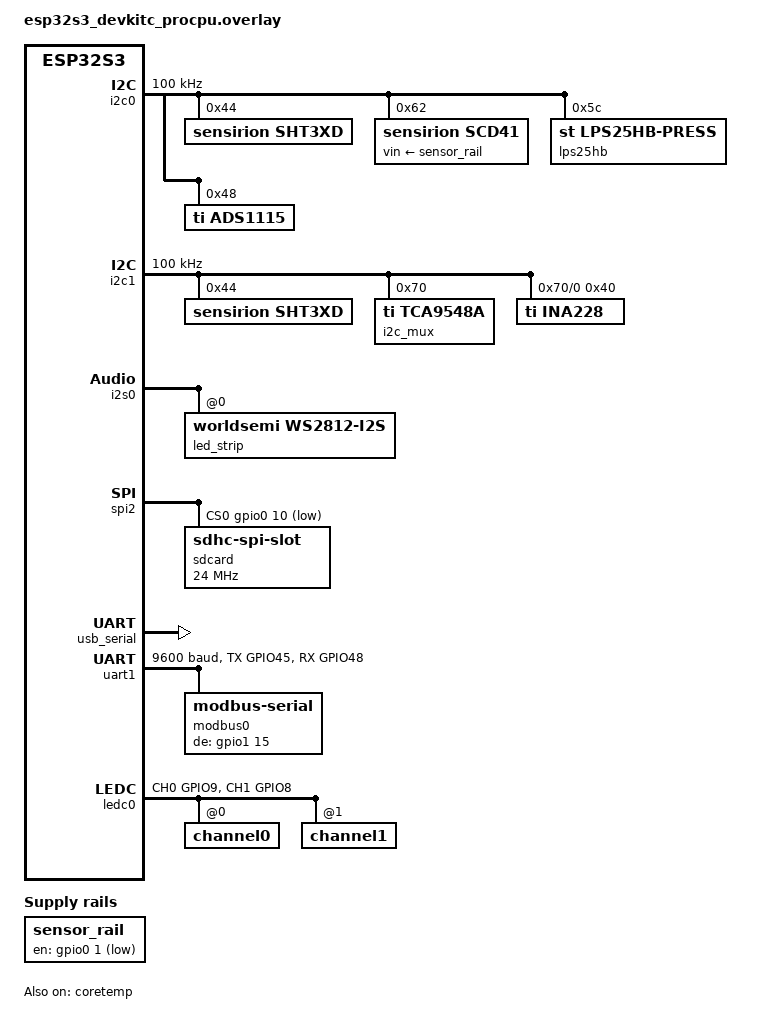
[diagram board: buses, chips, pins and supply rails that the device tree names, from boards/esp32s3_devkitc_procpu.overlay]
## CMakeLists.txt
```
cmake_minimum_required(VERSION 3.20.0)

file(WRITE ${CMAKE_CURRENT_BINARY_DIR}/wireguard_credentials.conf
     "CONFIG_WIREGUARD_LOCAL_PRIVATE_KEY=\"$ENV{CONFIG_WIREGUARD_LOCAL_PRIVATE_KEY}\"\n")
list(APPEND EXTRA_CONF_FILE ${CMAKE_CURRENT_BINARY_DIR}/wireguard_credentials.conf)

if(DEFINED ENV{OPENOCD})
  set(OPENOCD "$ENV{OPENOCD}" CACHE STRING "" FORCE)
endif()

list(APPEND EXTRA_CONF_FILE
  ${CMAKE_CURRENT_SOURCE_DIR}/src/boot/kernel.conf
  ${CMAKE_CURRENT_SOURCE_DIR}/src/boot/thread_analyzer.conf

  ${CMAKE_CURRENT_SOURCE_DIR}/src/hardware/esp_spiram.conf

  ${CMAKE_CURRENT_SOURCE_DIR}/src/console/log.conf
  ${CMAKE_CURRENT_SOURCE_DIR}/src/console/shell.conf
  ${CMAKE_CURRENT_SOURCE_DIR}/src/console/debug.conf
  ${CMAKE_CURRENT_SOURCE_DIR}/src/console/stats.conf
  ${CMAKE_CURRENT_SOURCE_DIR}/src/console/ram.conf
  ${CMAKE_CURRENT_SOURCE_DIR}/src/console/mcumgr.conf

  ${CMAKE_CURRENT_SOURCE_DIR}/src/filesystems/nvs.conf
  ${CMAKE_CURRENT_SOURCE_DIR}/src/filesystems/img.conf
  ${CMAKE_CURRENT_SOURCE_DIR}/src/filesystems/zvfs.conf
  ${CMAKE_CURRENT_SOURCE_DIR}/src/filesystems/flash.conf
  ${CMAKE_CURRENT_SOURCE_DIR}/src/filesystems/settings.conf

  ${CMAKE_CURRENT_SOURCE_DIR}/src/networking/buf.conf
  ${CMAKE_CURRENT_SOURCE_DIR}/src/networking/ipv4.conf
  ${CMAKE_CURRENT_SOURCE_DIR}/src/networking/ipv6.conf
  ${CMAKE_CURRENT_SOURCE_DIR}/src/networking/mgmt.conf
  ${CMAKE_CURRENT_SOURCE_DIR}/src/networking/default.conf
  ${CMAKE_CURRENT_SOURCE_DIR}/src/networking/sockets.conf
  ${CMAKE_CURRENT_SOURCE_DIR}/src/networking/hostname.conf
  ${CMAKE_CURRENT_SOURCE_DIR}/src/networking/statistics.conf
  ${CMAKE_CURRENT_SOURCE_DIR}/src/networking/dns/server.conf
  ${CMAKE_CURRENT_SOURCE_DIR}/src/networking/dns/resolver.conf
  ${CMAKE_CURRENT_SOURCE_DIR}/src/networking/dhcpv4.conf

  ${CMAKE_CURRENT_SOURCE_DIR}/src/networking/wifi/esp32.conf
  ${CMAKE_CURRENT_SOURCE_DIR}/src/networking/wifi/default.conf
  ${CMAKE_CURRENT_SOURCE_DIR}/src/networking/wifi/credentials.conf

  ${CMAKE_CURRENT_SOURCE_DIR}/src/networking/sntp.conf

  ${CMAKE_CURRENT_SOURCE_DIR}/src/services/mcumgr.conf

  ${CMAKE_CURRENT_SOURCE_DIR}/src/programs/hwinfo.conf
)

if(BOARD MATCHES "^xiao_esp32s3")
  function(app_set_runner_args)
    board_runner_args(probe-rs
      "--chip" "esp32s3"
      "--protocol" "jtag"
      "--file-type" "bin"
      "--base-address=0x20000"
    )
  endfunction()
endif()

find_package(Zephyr REQUIRED HINTS $ENV{ZEPHYR_BASE})
project(firmware)

rust_cargo_application(CRATE_NAME firmware)

target_sources(app PRIVATE src/networking/wifi/wifi.c)

target_include_directories(app PRIVATE ${ZEPHYR_BASE}/subsys/net/ip)

target_sources_ifdef(CONFIG_NET_DHCPV4_SERVER app PRIVATE
  src/networking/dns/proxy.c
)

target_sources_ifdef(CONFIG_MODEM_CELLULAR app PRIVATE src/networking/cellular/cellular.c)

target_sources_ifdef(CONFIG_WIREGUARD app PRIVATE src/networking/wireguard/wireguard.c)
if(CONFIG_WIREGUARD)
  target_include_directories(app PRIVATE ${ZEPHYR_BASE}/subsys/net/lib/wireguard)
endif()

set_source_files_properties(
  src/networking/dns/proxy.c
  PROPERTIES INCLUDE_DIRECTORIES "${ZEPHYR_BASE}/subsys/net/lib/dns"
)

# NOTE: uncomment wolfssl/wolfssh projects in west.yml + add services/ssh/wolfssh.conf + boot/posix.conf to app's EXTRA_CONF_FILE
# if(CONFIG_WOLFSSH)
#   zephyr_include_directories(${CMAKE_CURRENT_SOURCE_DIR}/src/services/ssh)
# endif()
```

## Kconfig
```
rsource "src/networking/wireguard/Kconfig"

source "Kconfig.zephyr"
```

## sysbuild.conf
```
# OTA disabled — bad flash caused boot loop, revisit later
# SB_CONFIG_BOOTLOADER_MCUBOOT=y
# SB_CONFIG_MCUBOOT_MODE_OVERWRITE_ONLY=y
```

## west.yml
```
manifest:
    remotes:
        - name: zephyrproject
          url-base: https://github.com/zephyrproject-rtos

        # - name: wolfssl
        #   url-base: https://github.com/wolfSSL

        - name: craigpeacock
          url-base: https://github.com/craigpeacock

    projects:
        - name: mm-iot-zephyr
          remote: craigpeacock
          revision: main
          path: modules/lib/morsemicro
          submodules: true
          import: false

        - name: zephyr-lang-rust
          remote: zephyrproject
          path: modules/lang/rust
          revision: 404fcefdbab0f2711cd342a1fab9d2eda52a1ba9 # main 2026-05-27

        # NOTE: uncomment CONFIG_WOLFSSH guard in CMakeLists.txt to use
        # - name: wolfssl
        #   remote: wolfssl
        #   revision: master
        #   path: modules/crypto/wolfssl
        #
        # - name: wolfssh
        #   remote: wolfssl
        #   revision: master
        #   path: modules/lib/wolfssh

        - name: zephyr
          remote: zephyrproject
          revision: 1f70d28f25e # main HEAD 2026-06-09
          import:
              name-allowlist:
                  # - qemu
                  # - percepio
                  # - net-tools

                  - mcuboot
                  - hal_xtensa
                  - hal_espressif

                  # - hal_stm32
                  # - hal_st

                  - cmsis
                  # - cmsis_6

                  - mbedtls
                  - mbedtls-3.6
                  # tf-psa-crypto is the sibling source tree mbedtls 4.x requires (per
                  # modules/crypto/mbedtls/CMakeLists.txt:346). Without this
                  # entry, any image with CONFIG_WIFI_ESP32=y fails at CMake-configure
                  # because WIFI_ESP32 selects PSA_CRYPTO which pulls mbedtls full build.
                  - tf-psa-crypto

                  # - fatfs
                  # - littlefs

                  - zcbor
                  - segger # RTT logging
                  # - nanopb # protobuf
                  # - libmetal
                  - picolibc
                  - mipi-sys-t
```

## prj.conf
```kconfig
CONFIG_LOG=y
CONFIG_PRINTK=y
CONFIG_LOG_BACKEND_SHOW_COLOR=y
CONFIG_LOG_INFO_COLOR_GREEN=y
CONFIG_LOG_DBG_COLOR_BLUE=y
CONFIG_LOG_BACKEND_SHOW_LEVEL=n
CONFIG_LOG_RUNTIME_FILTERING=y
# CONFIG_NET_LOG=y
# CONFIG_NET_HTTP_SERVER_LOG_LEVEL_DBG=y
CONFIG_LED_STRIP=y
CONFIG_LED_STRIP_SHELL=y

CONFIG_ESPTOOLPY_FLASHSIZE_8MB=y

CONFIG_ESP_SPIRAM=y
CONFIG_SPIRAM_MODE_OCT=y
CONFIG_ESP32S3_DATA_CACHE_64KB=y
# CONFIG_ESP_WIFI_HEAP_SPIRAM=y  # breaks boot — hangs before Zephyr banner

CONFIG_FLASH=y
CONFIG_FLASH_PAGE_LAYOUT=y

# Drivers
CONFIG_I2C=y
CONFIG_ADC=y
CONFIG_SENSOR=y
# Upstream defaults both root and channel prio to I2C_INIT_PRIORITY (50),
# but the driver asserts CHANNEL > ROOT.
CONFIG_I2C_TCA954X_CHANNEL_INIT_PRIO=51
CONFIG_PM_DEVICE=y
CONFIG_POWEROFF=y
CONFIG_REBOOT=y
CONFIG_REGULATOR=y
CONFIG_REGULATOR_FIXED=y

# File systems
CONFIG_FILE_SYSTEM=y

# Shell
CONFIG_SHELL=y
CONFIG_SHELL_PROMPT_BUFF_SIZE=2048
CONFIG_SHELL_DEFAULT_TERMINAL_WIDTH=200
CONFIG_SHELL_CMDS_RESIZE=y
CONFIG_SHELL_CMDS_SELECT=y
CONFIG_SHELL_BACKEND_TELNET=y
# CONFIG_SHELL_BACKEND_WEBSOCKET=y

# Networking
CONFIG_NETWORKING=y
CONFIG_NET_IPV4=y
CONFIG_NET_IPV6=y
CONFIG_NET_TCP=y
CONFIG_NET_UDP=y
CONFIG_NET_DHCPV4=y
CONFIG_NET_SHELL=y
CONFIG_NET_HOSTNAME_ENABLE=y
CONFIG_NET_HOSTNAME_DYNAMIC=y
CONFIG_NET_HOSTNAME_UNIQUE=y
CONFIG_NET_HOSTNAME="ceratina-"
CONFIG_NET_CONNECTION_MANAGER=y
# CONFIG_NET_CONNECTION_MANAGER_CONNECTIVITY_WIFI_MGMT=y
CONFIG_NET_STATISTICS=y
CONFIG_NET_CAPTURE=y
CONFIG_NET_SOCKETS=y
CONFIG_NET_SOCKETS_SERVICE_STACK_SIZE=4096
CONFIG_NET_MAX_CONN=32
CONFIG_NET_CONTEXT_NET_PKT_POOL=y

# DNS + mDNS
CONFIG_DNS_RESOLVER=y
CONFIG_MDNS_RESOLVER=y
CONFIG_MDNS_RESPONDER=y
CONFIG_DNS_SD=y
CONFIG_MDNS_RESPONDER_DNS_SD=y

# SNTP
CONFIG_SNTP=y
CONFIG_NET_CONFIG_CLOCK_SNTP_INIT=y

# HTTP
CONFIG_ZVFS_EVENTFD_MAX=4
CONFIG_HTTP_SERVER=y
CONFIG_HTTP_SERVER_WEBSOCKET=y
CONFIG_HTTP_SERVER_RESOURCE_WILDCARD=y
CONFIG_HTTP_SERVER_COMPRESSION=y
CONFIG_HTTP_CLIENT=y

CONFIG_PROMETHEUS=y
# CONFIG_NET_STATISTICS_VIA_PROMETHEUS=y  # redefinition errors with dual WiFi (STA+AP)
CONFIG_HTTP_SERVER_STACK_SIZE=8192
CONFIG_HTTP_SERVER_CLIENT_BUFFER_SIZE=1024
CONFIG_HTTP_SERVER_CLIENT_INACTIVITY_TIMEOUT=120

# WebSocket
CONFIG_WEBSOCKET_CLIENT=y

CONFIG_MQTT_LIB=y
CONFIG_MQTT_KEEPALIVE=60

# TLS for MQTT — disabled while playing on LAN, revisit when going public
# CONFIG_NET_SOCKETS_SOCKOPT_TLS=y
# CONFIG_TLS_CREDENTIALS=y
# CONFIG_MBEDTLS=y
# CONFIG_MBEDTLS_BUILTIN=y
# CONFIG_MBEDTLS_ENABLE_HEAP=y
# CONFIG_MBEDTLS_HEAP_SIZE=60000
# CONFIG_MBEDTLS_TLS_VERSION_1_2=y
# CONFIG_MBEDTLS_KEY_EXCHANGE_RSA_ENABLED=y
# CONFIG_MBEDTLS_KEY_EXCHANGE_ECDHE_RSA_ENABLED=y
# CONFIG_MBEDTLS_ECP_C=y
# CONFIG_MBEDTLS_SHA256=y
# CONFIG_MBEDTLS_AES_C=y
# CONFIG_MBEDTLS_RSA_C=y
# CONFIG_MBEDTLS_CIPHER_GCM_ENABLED=y
# CONFIG_MBEDTLS_USER_CONFIG_ENABLE=y

# DHCP server
CONFIG_NET_DHCPV4_SERVER=y
CONFIG_NET_DHCPV4_SERVER_INSTANCES=1
CONFIG_NET_DHCPV4_SERVER_ADDR_COUNT=4

# WiFi
CONFIG_WIFI=y
CONFIG_WIFI_NM=y
CONFIG_WIFI_CREDENTIALS=y
CONFIG_WIFI_USAGE_MODE_STA_AP=y
CONFIG_NET_L2_WIFI_SHELL=y
CONFIG_NET_L2_WIFI_MGMT=y
CONFIG_ESP32_WIFI_STA_AUTO_DHCPV4=y
CONFIG_NET_IF_MAX_IPV4_COUNT=2
CONFIG_NET_IF_MAX_IPV6_COUNT=2
CONFIG_NET_MGMT_EVENT_INFO=y
CONFIG_NET_MGMT_EVENT_STACK_SIZE=4096

# UUID for CloudEvents id generation (RFC 9562)
CONFIG_UUID=y
CONFIG_UUID_V5=y

# Shell subsystems
CONFIG_LOG_CMDS=y
CONFIG_KERNEL_SHELL=y
CONFIG_DEVICE_SHELL=y
CONFIG_SENSOR_SHELL=y
CONFIG_I2C_SHELL=y
CONFIG_GPIO_SHELL=y
CONFIG_FLASH_SHELL=y
CONFIG_THREAD_ANALYZER=y
CONFIG_THREAD_NAME=y
CONFIG_DATE_SHELL=y
CONFIG_HWINFO=y
CONFIG_HWINFO_SHELL=y
CONFIG_STATS=y
CONFIG_STATS_SHELL=y
CONFIG_STATS_NAMES=y
CONFIG_FILE_SYSTEM_SHELL=y
CONFIG_SETTINGS=y
CONFIG_SETTINGS_SHELL=y
CONFIG_FLASH_MAP=y
CONFIG_NVS=y
CONFIG_SETTINGS_NVS=y
CONFIG_PM_DEVICE_SHELL=y
CONFIG_DEVMEM_SHELL=y

# SD card
CONFIG_SPI=y
CONFIG_SDHC=y
CONFIG_SDMMC_STACK=y
CONFIG_DISK_ACCESS=y
CONFIG_DISK_DRIVER_SDMMC=y
CONFIG_FAT_FILESYSTEM_ELM=y
CONFIG_FS_FATFS_LFN=y

# Console over built-in USB-Serial/JTAG
CONFIG_SERIAL=y
CONFIG_CONSOLE=y
CONFIG_UART_CONSOLE=y

# Modbus
CONFIG_MODBUS=y
CONFIG_MODBUS_SERIAL=y
CONFIG_MODBUS_ROLE_CLIENT=y
# Modbus subsystem forces 2 stop bits when parity is NONE if runtime UART
# configure is on; DFRobot soil sensors are 8N1, so keep DT framing intact.
CONFIG_UART_USE_RUNTIME_CONFIGURE=n
# CONFIG_UART_INTERRUPT_DRIVEN=y  # breaks USB-Serial/JTAG console

# Rust
CONFIG_JSON_LIBRARY=y
CONFIG_SYS_HEAP_RUNTIME_STATS=y

CONFIG_RUST=y
CONFIG_RUST_ALLOC=y

# OTA disabled — bad flash caused boot loop, revisit later
# CONFIG_BOOTLOADER_MCUBOOT=y
# CONFIG_MCUMGR=y
# CONFIG_MCUMGR_GRP_IMG=y
# CONFIG_MCUMGR_GRP_OS=y
# CONFIG_IMG_MANAGER=y
# CONFIG_STREAM_FLASH=y
# CONFIG_ZCBOR=y
# CONFIG_CRC=y
# CONFIG_MCUMGR_TRANSPORT_UDP=y
# CONFIG_MCUMGR_TRANSPORT_UDP_IPV4=y

# System
CONFIG_ZVFS_POLL_MAX=32

# Stack sizes
CONFIG_MAIN_STACK_SIZE=8192
CONFIG_SYSTEM_WORKQUEUE_STACK_SIZE=4096
CONFIG_ISR_STACK_SIZE=4096
CONFIG_SHELL_STACK_SIZE=5200
CONFIG_STACK_SENTINEL=y
CONFIG_NET_TX_STACK_SIZE=2048
CONFIG_NET_RX_STACK_SIZE=2048
CONFIG_NET_PKT_RX_COUNT=10
CONFIG_NET_PKT_TX_COUNT=10
CONFIG_NET_BUF_RX_COUNT=128
CONFIG_NET_BUF_TX_COUNT=128
CONFIG_NET_MAX_CONTEXTS=32
CONFIG_NET_MGMT_EVENT_QUEUE_SIZE=16
CONFIG_NET_MGMT_EVENT_INFO_DEFAULT_DATA_SIZE=128
```

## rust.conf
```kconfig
CONFIG_RUST=y
CONFIG_RUST_ALLOC=y
```

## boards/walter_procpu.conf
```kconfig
CONFIG_SPIRAM_SPEED_80M=y
CONFIG_LOG_MODE_DEFERRED=y
CONFIG_LOG_BUFFER_SIZE=4096
CONFIG_LOG_MODE_IMMEDIATE=n
CONFIG_NET_HOSTNAME="walter"
CONFIG_ESPTOOLPY_FLASHSIZE_16MB=y
```

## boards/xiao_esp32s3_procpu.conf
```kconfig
CONFIG_SPIRAM_MODE_OCT=y
CONFIG_NET_HOSTNAME="xiao"
CONFIG_WIFI_USAGE_MODE_STA_AP=y
CONFIG_ESPTOOLPY_FLASHSIZE_8MB=y
CONFIG_ESP_SPIRAM_HEAP_SIZE=6291456
```

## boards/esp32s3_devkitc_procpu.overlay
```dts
#include <zephyr/dt-bindings/led/led.h>
#include <zephyr/dt-bindings/pinctrl/esp32s3-pinctrl.h>

/ {
	aliases {
		led-strip = &led_strip;
		temp0 = &coretemp;
	};

	chosen {
		zephyr,console = &usb_serial;
		zephyr,shell-uart = &usb_serial;
	};

	wifi_ap: wifi_ap {
		compatible = "espressif,esp32-wifi";
		status = "okay";
	};

	sensor_rail: sensor-rail {
		compatible = "regulator-fixed";
		regulator-name = "sensor-rail";
		enable-gpios = <&gpio0 1 GPIO_ACTIVE_LOW>;
		regulator-boot-on;
		regulator-always-on;
		startup-delay-us = <3000000>;
	};
};

&coretemp {
	status = "okay";
};

&pinctrl {
	i2c0_default: i2c0_default {
		group1 {
			pinmux = <I2C0_SDA_GPIO15>, <I2C0_SCL_GPIO16>;
			bias-pull-up;
			drive-open-drain;
			output-high;
		};
	};
	i2c1_default: i2c1_default {
		group1 {
			pinmux = <I2C1_SDA_GPIO17>, <I2C1_SCL_GPIO18>;
			bias-pull-up;
			drive-open-drain;
			output-high;
		};
	};

	uart1_default: uart1_default {
		group1 {
			pinmux = <UART1_TX_GPIO45>;
			output-high;
		};
		group2 {
			pinmux = <UART1_RX_GPIO48>;
			bias-pull-up;
		};
	};

	uart2_default: uart2_default {
		group1 {
			pinmux = <UART2_TX_GPIO40>;
			output-high;
		};
		group2 {
			pinmux = <UART2_RX_GPIO39>;
			bias-pull-up;
		};
	};

	ledc0_default: ledc0_default {
		group1 {
			pinmux = <LEDC_CH0_GPIO9>, <LEDC_CH1_GPIO8>;
			output-enable;
		};
	};
};

&i2c0 {
	status = "okay";
	clock-frequency = <I2C_BITRATE_STANDARD>;
	pinctrl-0 = <&i2c0_default>;
	pinctrl-names = "default";

	sht3xd@44 {
		compatible = "sensirion,sht3xd";
		reg = <0x44>;
	};

	scd41: scd41@62 {
		compatible = "sensirion,scd41";
		reg = <0x62>;
		mode = <1>;
		friendly-name = "Air Quality (CO2/T/RH)";
		vin-supply = <&sensor_rail>;
		zephyr,deferred-init;
	};

	lps25hb@5c {
		compatible = "st,lps25hb-press";
		reg = <0x5c>;
	};

	ads1115@48 {
		compatible = "ti,ads1115";
		reg = <0x48>;
		#io-channel-cells = <1>;
	};
};

&i2c1 {
	status = "okay";
	clock-frequency = <I2C_BITRATE_STANDARD>;
	pinctrl-0 = <&i2c1_default>;
	pinctrl-names = "default";

	sht3xd@44 {
		compatible = "sensirion,sht3xd";
		reg = <0x44>;
	};

	i2c_mux: tca9548a@70 {
		compatible = "ti,tca9548a";
		reg = <0x70>;
		#address-cells = <1>;
		#size-cells = <0>;

		mux_ch0: i2c@0 {
			reg = <0>;
			#address-cells = <1>;
			#size-cells = <0>;
			ina228@40 {
				compatible = "ti,ina228";
				reg = <0x40>;
				rshunt-micro-ohms = <15000>;
				current-lsb-microamps = <20>;
			};
		};
	};
};

&psram0 {
	size = <DT_SIZE_M(8)>;
};

&i2s0_default {
	group1 {
		pinmux = <I2S0_O_SD_GPIO38>;
	};
};

i2s_led: &i2s0 {
	status = "okay";

	dmas = <&dma 3>;
	dma-names = "tx";

	led_strip: ws2812@0 {
		compatible = "worldsemi,ws2812-i2s";

		reg = <0>;
		chain-length = <1>;
		color-mapping = <LED_COLOR_ID_GREEN
				 LED_COLOR_ID_RED
				 LED_COLOR_ID_BLUE>;
		reset-delay = <500>;
	};
};

&spi2 {
	status = "okay";
	pinctrl-0 = <&spim2_default>;
	pinctrl-names = "default";
	cs-gpios = <&gpio0 10 GPIO_ACTIVE_LOW>;

	sdcard: sdcard@0 {
		compatible = "zephyr,sdhc-spi-slot";
		reg = <0>;
		spi-max-frequency = <24000000>;
		status = "okay";
		mmc {
			compatible = "zephyr,sdmmc-disk";
			disk-name = "sd";
			status = "okay";
		};
	};
};

&usb_serial {
	status = "okay";
};

&dma {
	status = "okay";
};

&uart1 {
	status = "okay";
	current-speed = <9600>;
	pinctrl-0 = <&uart1_default>;
	pinctrl-names = "default";

	modbus0: modbus0 {
		compatible = "zephyr,modbus-serial";
		status = "okay";
		de-gpios = <&gpio1 15 GPIO_ACTIVE_HIGH>; /* GPIO47 */

		soil_moisture: soil-moisture {
			compatible = "dfrobot,soil-moisture";
			slave-id = <100>;
		};

		soil_moisture_three_in_one: soil-moisture-three-in-one {
			compatible = "dfrobot,soil-moisture-three-in-one";
			slave-id = <110>;
		};
	};
};

&ledc0 {
	status = "okay";
	pinctrl-0 = <&ledc0_default>;
	pinctrl-names = "default";
	#address-cells = <1>;
	#size-cells = <0>;

	channel0@0 {
		reg = <0x0>;
		timer = <0>;
	};

	channel1@1 {
		reg = <0x1>;
		timer = <0>;
	};
};
```

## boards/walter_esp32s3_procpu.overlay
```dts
/* https://docs.zephyrproject.org/latest/boards/dptechnics/walter/doc/index.html */
/ {
	wifi_ap: wifi_ap {
		compatible = "espressif,esp32-wifi";
		status = "okay";
	};
};
```

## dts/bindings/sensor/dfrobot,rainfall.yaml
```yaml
description: DFRobot rainfall sensor (Modbus RTU)

compatible: "dfrobot,rainfall"

include: [sensor-device.yaml]

properties:
  slave-id:
    type: int
    required: true
    description: Modbus slave address of the rainfall sensor
```

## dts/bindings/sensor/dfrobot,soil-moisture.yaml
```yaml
description: DFRobot soil moisture sensor (Modbus RTU, multi-tier)

compatible: "dfrobot,soil-moisture"

include: [sensor-device.yaml]

properties:
  scan-range-start:
    type: int
    required: true
    description: First Modbus slave address to scan for probes

  scan-range-end:
    type: int
    required: true
    description: Last Modbus slave address to scan for probes
```

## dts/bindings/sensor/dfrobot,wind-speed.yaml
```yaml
description: DFRobot wind speed sensor (Modbus RTU)

compatible: "dfrobot,wind-speed"

include: [sensor-device.yaml]

properties:
  slave-id:
    type: int
    required: true
    description: Modbus slave address of the wind speed sensor
```

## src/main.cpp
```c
//------------------------------------------
//  Includes
//------------------------------------------
#include "config.h"

#include <Arduino.h>
#include <LittleFS.h>
#include <Wire.h>

#include "networking/wifi.h"
#include "networking/sntp.h"
#include "networking/telnet.h"
#include "networking/ota.h"
#include "networking/update.h"
#include "services/http.h"
#include "services/network.h"
#include "services/temperature_and_humidity.h"
#include "services/ws_shell.h"
#include "services/co2.h"
#include "networking/ble.h"
#include "networking/provisioning.h"
#include "programs/buttons.h"
#include "drivers/neopixel.h"
#include "drivers/tca9548a.h"
#include "drivers/ads1115.h"
#include "programs/ssh/ssh_server.h"
#include "programs/shell/shell.h"

//------------------------------------------
//  Network Services (idempotent — safe to call multiple times)
//------------------------------------------
void network_services_start(void) {
  static bool sntp_done = false;
  static bool ssh_done = false;
  static bool http_done = false;
  static bool telnet_done = false;
  static bool ota_done = false;

  if (!sntp_done) sntp_done = sntp_sync();
  if (!ssh_done) ssh_done = ssh_server_start();
  if (!http_done) { http_server_start(); http_done = true; }
  if (!telnet_done) { telnet_start(); telnet_done = true; }
  if (!ota_done) { ota_start(); ota_done = true; }
}

//------------------------------------------
//  System Task
//------------------------------------------
static void system_task(void *pvParameters) {
  (void)pvParameters;

  Serial.println(F("[system] booting..."));

  neopixel_init();
  neopixel_blue();

  // Power on I2C sensor relay and init buses
  pinMode(CONFIG_I2C_RELAY_POWER_GPIO, OUTPUT);
  digitalWrite(CONFIG_I2C_RELAY_POWER_GPIO, HIGH);
  delay(100);
  Wire.begin(CONFIG_I2C_0_SDA_GPIO, CONFIG_I2C_0_SCL_GPIO, CONFIG_I2C_FREQUENCY_KHZ * 1000);
  Wire.setTimeOut(100);
  Wire1.begin(CONFIG_I2C_1_SDA_GPIO, CONFIG_I2C_1_SCL_GPIO, CONFIG_I2C_FREQUENCY_KHZ * 1000);
  Wire1.setTimeOut(100);

  // Discover sensors behind TCA9548A mux
  tca9548a_init();
  temperature_and_humidity_discover();
  ads1115_init();
  ads1115_begin();
  co2_init();
  // co2_begin() is deferred — called lazily on first read via co2_read()
  // Saves ~2.5s boot time and RAM when no CO2 sensor is connected

#if CONFIG_BLE_ENABLED
  ble_init();
#endif

  shell_init();
  buttons_init();

  if (!LittleFS.begin(false)) {
    Serial.println(F("[fs] mount failed, formatting..."));
    neopixel_red();
    if (!LittleFS.begin(true)) {
      Serial.println(F("[fs] format failed — filesystem unavailable"));
    }
  }
  if (LittleFS.totalBytes() > 0) {
    Serial.printf("[fs] LittleFS: %u/%u KB used\n",
                  (unsigned)(LittleFS.usedBytes() / 1024),
                  (unsigned)(LittleFS.totalBytes() / 1024));
    neopixel_blue();
  }

  // Check for firmware update on SD card before WiFi
  update_check_sd_on_boot();

#if CONFIG_PROV_ENABLED
  if (!provisioning_is_provisioned()) {
    Serial.println(F("[prov] not provisioned — starting BLE provisioning"));
    neopixel_magenta();
    provisioning_start();
  }
#endif

  if (wifi_connect()) {
    neopixel_green();
    Serial.printf("[wifi] connected, heap: %u bytes free\n", ESP.getFreeHeap());
  } else {
    Serial.println(F("[wifi] STA not connected — starting AP for provisioning"));
    wifi_start_ap();
    neopixel_yellow();
  }

  network_services_start();

  // Shell service loop (non-blocking) + SSE heartbeat + DNS
  uint32_t last_heartbeat = 0;
  for (;;) {
    http_server_service();
    shell_service();
    ws_shell_service();
    telnet_service();
    ota_service();
    buttons_service();

#if CONFIG_BLE_ENABLED
    ble_service();
#endif

    if (millis() - last_heartbeat > 5000) {
      last_heartbeat = millis();
      uint32_t heap = ESP.getFreeHeap();
      char buf[64];
      snprintf(buf, sizeof(buf), "{\"uptime\":%lu,\"heap\":%u}",
               millis() / 1000, heap);
      http_events.send(buf, "heartbeat", millis());

      if (heap < 20000) {
        Serial.printf("[WARN] low heap: %u bytes free (min: %u)\n",
                      heap, ESP.getMinFreeHeap());
      }
    }

    vTaskDelay(pdMS_TO_TICKS(CONFIG_SHELL_SERVICE_INTERVAL_MS));
  }
}

//------------------------------------------
//  Arduino Entry Points
//------------------------------------------
#ifndef PIO_UNIT_TESTING

void setup(void) {
  Serial.begin(CONFIG_SERIAL_BAUD);
  delay(100);

  wifi_setup();

  xTaskCreatePinnedToCore(system_task, "system", CONFIG_SYSTEM_TASK_STACK, NULL,
                          1, NULL, 1);
}

void loop(void) {}

#endif
```

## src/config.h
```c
// clang-format off
#ifndef CONFIG_H
#define CONFIG_H

// ─────────────────────────────────────────────────────────────────────────────
//  Deployment
// ─────────────────────────────────────────────────────────────────────────────

#ifndef CONFIG_HOSTNAME
#define CONFIG_HOSTNAME "ceratina"
#endif

#ifndef CONFIG_PLATFORM
#define CONFIG_PLATFORM "esp32s3"
#endif

// ─────────────────────────────────────────────────────────────────────────────
//  Neopixel
// ─────────────────────────────────────────────────────────────────────────────

#ifndef CONFIG_NEOPIXEL_GPIO
#define CONFIG_NEOPIXEL_GPIO 38
#endif

#ifndef CONFIG_NEOPIXEL_COUNT
#define CONFIG_NEOPIXEL_COUNT 1
#endif

#ifndef CONFIG_NEOPIXEL_BRIGHTNESS
#define CONFIG_NEOPIXEL_BRIGHTNESS 255
#endif

// ─────────────────────────────────────────────────────────────────────────────
//  System
// ─────────────────────────────────────────────────────────────────────────────

#ifndef CONFIG_SYSTEM_TASK_STACK
#define CONFIG_SYSTEM_TASK_STACK 8192
#endif

#ifndef CONFIG_SERIAL_BAUD
#define CONFIG_SERIAL_BAUD 115200
#endif

#ifndef CONFIG_SHELL_SERVICE_INTERVAL_MS
#define CONFIG_SHELL_SERVICE_INTERVAL_MS 10
#endif

// ─────────────────────────────────────────────────────────────────────────────
//  SSH
// ─────────────────────────────────────────────────────────────────────────────

#ifndef CONFIG_SSH_PORT
#define CONFIG_SSH_PORT 22
#endif

#ifndef CONFIG_SSH_USER
#define CONFIG_SSH_USER "root"
#endif

// LittleFS-native path (for LittleFS.exists / LittleFS.mkdir)
#ifndef CONFIG_SSH_HOSTKEY_PATH
#define CONFIG_SSH_HOSTKEY_PATH "/.ssh/id_ed25519"
#endif

#ifndef CONFIG_SSH_TASK_STACK
#define CONFIG_SSH_TASK_STACK 32768
#endif

#ifndef CONFIG_SSH_WRITE_BUF_SIZE
#define CONFIG_SSH_WRITE_BUF_SIZE 1024
#endif

#ifndef CONFIG_SSH_RING_SIZE
#define CONFIG_SSH_RING_SIZE 512
#endif

// ─────────────────────────────────────────────────────────────────────────────
//  WiFi
// ─────────────────────────────────────────────────────────────────────────────

#ifndef CONFIG_WIFI_TIMEOUT_MS
#define CONFIG_WIFI_TIMEOUT_MS 15000
#endif

#ifndef CONFIG_WIFI_POLL_MS
#define CONFIG_WIFI_POLL_MS 100
#endif

#ifndef CONFIG_WIFI_NVS_NAMESPACE
#define CONFIG_WIFI_NVS_NAMESPACE "wifi"
#endif

// ── Access Point (fallback when STA fails) ──

#ifndef CONFIG_AP_SSID
#define CONFIG_AP_SSID "ceratina-access-point"
#endif

#ifndef CONFIG_AP_PASSWORD
#define CONFIG_AP_PASSWORD "apidaesystems"
#endif

#ifndef CONFIG_AP_CHANNEL
#define CONFIG_AP_CHANNEL 1
#endif

#ifndef CONFIG_WIFI_STA_RETRY_MS
#define CONFIG_WIFI_STA_RETRY_MS 10000
#endif

#define CONFIG_WIFI_SSID_IEEE_802_11_MAX_LENGTH 32
#define CONFIG_WIFI_PASS_IEEE_802_11_MAX_LENGTH 64

// ─────────────────────────────────────────────────────────────────────────────
//  Telnet Shell
// ─────────────────────────────────────────────────────────────────────────────

#define CONFIG_TELNET_ENABLED        1
#define CONFIG_TELNET_PORT           23
#define CONFIG_TELNET_RING_SIZE      512
#define CONFIG_TELNET_WRITE_BUF      1024
#define CONFIG_TELNET_KEEPALIVE_MS   3000

// ─────────────────────────────────────────────────────────────────────────────
//  ArduinoOTA
// ─────────────────────────────────────────────────────────────────────────────

#define CONFIG_OTA_ENABLED           0
#define CONFIG_OTA_PORT              3232
#define CONFIG_OTA_PASSWORD          ""
#define CONFIG_OTA_SD_PATH           "/update.bin"

// ─────────────────────────────────────────────────────────────────────────────
//  Time / NTP
// ─────────────────────────────────────────────────────────────────────────────

#ifndef CONFIG_NTP_SERVER
#define CONFIG_NTP_SERVER "pool.ntp.org"
#endif

#ifndef CONFIG_NTP_SERVER_2
#define CONFIG_NTP_SERVER_2 "time.nist.gov"
#endif

// POSIX TZ string — handles DST automatically
// https://github.com/esp8266/Arduino/blob/master/cores/esp8266/TZ.h
#ifndef CONFIG_TIME_ZONE
#define CONFIG_TIME_ZONE "EST5EDT,M3.2.0/2,M11.1.0/2"
#endif

#ifndef CONFIG_NTP_SYNC_TIMEOUT_MS
#define CONFIG_NTP_SYNC_TIMEOUT_MS 10000
#endif

// ─────────────────────────────────────────────────────────────────────────────
//  HTTP
// ─────────────────────────────────────────────────────────────────────────────

#ifndef CONFIG_HTTP_PORT
#define CONFIG_HTTP_PORT 80
#endif

#ifndef CONFIG_HTTP_AUTH_ENABLED
#define CONFIG_HTTP_AUTH_ENABLED 0
#endif

#ifndef CONFIG_HTTP_AUTH_USER
#define CONFIG_HTTP_AUTH_USER CONFIG_SSH_USER
#endif

#ifndef CONFIG_HTTP_AUTH_PASSWORD
#define CONFIG_HTTP_AUTH_PASSWORD CONFIG_SSH_USER
#endif

#ifndef CONFIG_HTTP_AUTH_REALM
#define CONFIG_HTTP_AUTH_REALM "ceratina"
#endif

// ─────────────────────────────────────────────────────────────────────────────
//  Shell
// ─────────────────────────────────────────────────────────────────────────────

#ifndef CONFIG_SHELL_BUF_IN
#define CONFIG_SHELL_BUF_IN 256
#endif

#ifndef CONFIG_SHELL_BUF_OUT
#define CONFIG_SHELL_BUF_OUT 256
#endif

#ifndef CONFIG_SHELL_PATH_MAX
#define CONFIG_SHELL_PATH_MAX 128
#endif

#ifndef CONFIG_SHELL_HOSTNAME_SIZE
#define CONFIG_SHELL_HOSTNAME_SIZE 32
#endif

// ─────────────────────────────────────────────────────────────────────────────
//  I2C
// ─────────────────────────────────────────────────────────────────────────────

#ifndef CONFIG_I2C_0_SDA_GPIO
#define CONFIG_I2C_0_SDA_GPIO 15
#endif

#ifndef CONFIG_I2C_0_SCL_GPIO
#define CONFIG_I2C_0_SCL_GPIO 16
#endif

#ifndef CONFIG_I2C_1_SDA_GPIO
#define CONFIG_I2C_1_SDA_GPIO 17
#endif

#ifndef CONFIG_I2C_1_SCL_GPIO
#define CONFIG_I2C_1_SCL_GPIO 18
#endif

#ifndef CONFIG_I2C_FREQUENCY_KHZ
#define CONFIG_I2C_FREQUENCY_KHZ 100
#endif

#ifndef CONFIG_I2C_RELAY_POWER_GPIO
#define CONFIG_I2C_RELAY_POWER_GPIO 5
#endif

#define CONFIG_I2C_ADDR_MIN 1
#define CONFIG_I2C_ADDR_MAX 127

#ifndef CONFIG_I2C_MUX_ADDR
#define CONFIG_I2C_MUX_ADDR 0x70
#endif

// ─────────────────────────────────────────────────────────────────────────────
//  EEPROM (AT24C32 on I2C bus 1)
// ─────────────────────────────────────────────────────────────────────────────

#ifndef CONFIG_EEPROM_I2C_ADDR
#define CONFIG_EEPROM_I2C_ADDR 0x50
#endif

#ifndef CONFIG_EEPROM_PAGE_SIZE
#define CONFIG_EEPROM_PAGE_SIZE 32
#endif

#ifndef CONFIG_EEPROM_TOTAL_SIZE
#define CONFIG_EEPROM_TOTAL_SIZE 4096
#endif

// ─────────────────────────────────────────────────────────────────────────────
//  Temperature / Humidity (SEN0546 / CHT832X behind TCA9548A mux)
//
//  SHT31-compatible wire protocol: write [0x24, 0x00], wait 60ms, read 6 bytes.
//  Sensors discovered dynamically by probing each mux channel for the I2C addr.
// ─────────────────────────────────────────────────────────────────────────────

#ifndef CONFIG_TEMPERATURE_HUMIDITY_I2C_ADDR
#define CONFIG_TEMPERATURE_HUMIDITY_I2C_ADDR 0x44
#endif

#ifndef CONFIG_TEMPERATURE_HUMIDITY_MAX_SENSORS
#define CONFIG_TEMPERATURE_HUMIDITY_MAX_SENSORS 8
#endif

#ifndef CONFIG_TEMPERATURE_HUMIDITY_READ_DELAY_MS
#define CONFIG_TEMPERATURE_HUMIDITY_READ_DELAY_MS 100
#endif

// ─────────────────────────────────────────────────────────────────────────────
//  Voltage Monitor (ADS1115 on Wire1)
//
//  Adafruit ADS1X15 library. 4-channel single-ended reads via I2C.
//  Mux channel is auto-discovered via tca9548a_find() in ads1115_begin().
// ─────────────────────────────────────────────────────────────────────────────

#ifndef CONFIG_VOLTAGE_MONITOR_I2C_ADDR
#define CONFIG_VOLTAGE_MONITOR_I2C_ADDR 0x48
#endif

#ifndef CONFIG_VOLTAGE_MONITOR_CHANNEL_COUNT
#define CONFIG_VOLTAGE_MONITOR_CHANNEL_COUNT 4
#endif

// Mux channel is auto-discovered via tca9548a_find() in ads1115_begin()

// ─────────────────────────────────────────────────────────────────────────────
//  SD Card
// ─────────────────────────────────────────────────────────────────────────────

#ifndef CONFIG_SD_CS_GPIO
#define CONFIG_SD_CS_GPIO 10
#endif

// ─────────────────────────────────────────────────────────────────────────────
//  SCP
// ─────────────────────────────────────────────────────────────────────────────

#ifndef CONFIG_SCP_BUF_SIZE
#define CONFIG_SCP_BUF_SIZE 4096
#endif

#ifndef CONFIG_WS_SHELL_RING_SIZE
#define CONFIG_WS_SHELL_RING_SIZE 512
#endif

#ifndef CONFIG_WS_SHELL_WRITE_BUF
#define CONFIG_WS_SHELL_WRITE_BUF 1024
#endif

// ─────────────────────────────────────────────────────────────────────────────
//  BLE Provisioning
// ─────────────────────────────────────────────────────────────────────────────

#ifndef CONFIG_PROV_ENABLED
#define CONFIG_PROV_ENABLED 0
#endif

#ifndef CONFIG_PROV_POP
#define CONFIG_PROV_POP "ceratina"
#endif

#ifndef CONFIG_PROV_SERVICE_UUID
#define CONFIG_PROV_SERVICE_UUID "ceaa0001-b5a3-f393-e0a9-e50e24dcca9e"
#endif

#ifndef CONFIG_PROV_CONFIG_UUID
#define CONFIG_PROV_CONFIG_UUID "ceaa0002-b5a3-f393-e0a9-e50e24dcca9e"
#endif

#ifndef CONFIG_PROV_NVS_NAMESPACE
#define CONFIG_PROV_NVS_NAMESPACE "prov"
#endif

// ─────────────────────────────────────────────────────────────────────────────
//  Physical Buttons (Connector Shield)
// ─────────────────────────────────────────────────────────────────────────────

#ifndef CONFIG_BUTTON_1_GPIO
#define CONFIG_BUTTON_1_GPIO 35
#endif

#ifndef CONFIG_BUTTON_2_GPIO
#define CONFIG_BUTTON_2_GPIO 4
#endif

#ifndef CONFIG_BUTTON_3_GPIO
#define CONFIG_BUTTON_3_GPIO 42
#endif

#ifndef CONFIG_BUTTON_COUNT
#define CONFIG_BUTTON_COUNT 3
#endif

#ifndef CONFIG_BUTTON_DEBOUNCE_MS
#define CONFIG_BUTTON_DEBOUNCE_MS 50
#endif

#ifndef CONFIG_BUTTON_LONG_PRESS_MS
#define CONFIG_BUTTON_LONG_PRESS_MS 1000
#endif

// ─────────────────────────────────────────────────────────────────────────────
//  BLE Runtime (NUS shell, sensor characteristics)
// ─────────────────────────────────────────────────────────────────────────────

#ifndef CONFIG_BLE_ENABLED
#define CONFIG_BLE_ENABLED 0
#endif

#ifndef CONFIG_BLE_PASSKEY
#define CONFIG_BLE_PASSKEY 123456
#endif

#ifndef CONFIG_BLE_MAX_CLIENTS
#define CONFIG_BLE_MAX_CLIENTS 2
#endif

#ifndef CONFIG_BLE_RING_SIZE
#define CONFIG_BLE_RING_SIZE 512
#endif

#ifndef CONFIG_BLE_WRITE_BUF
#define CONFIG_BLE_WRITE_BUF 512
#endif

// ─────────────────────────────────────────────────────────────────────────────
//  SMTP Email
//
//  Edit these values directly. Password is stored in NVS (key below).
//  Set CONFIG_SMTP_ENABLED to 1 and fill in your SMTP server details.
// ─────────────────────────────────────────────────────────────────────────────

#define CONFIG_SMTP_ENABLED          0
#define CONFIG_SMTP_HOST             ""
#define CONFIG_SMTP_PORT             587
#define CONFIG_SMTP_DOMAIN           ""
#define CONFIG_SMTP_FROM_EMAIL       ""
#define CONFIG_SMTP_FROM_NAME        ""
#define CONFIG_SMTP_TO_EMAIL         ""
#define CONFIG_SMTP_LOGIN_EMAIL      ""
#define CONFIG_SMTP_SUBJECT_PREFIX   "[ceratina]"
#define CONFIG_SMTP_AUTH_ENABLED     0
#define CONFIG_SMTP_SSL_ENABLED      0
#define CONFIG_SMTP_STARTTLS_ENABLED 0
#define CONFIG_SMTP_TEST_ENABLED     0
#define CONFIG_SMTP_NVS_KEY          "SMTP_PASSWORD"

// ─────────────────────────────────────────────────────────────────────────────
//  CloudEvents
// ─────────────────────────────────────────────────────────────────────────────

#ifndef CONFIG_CLOUDEVENTS_TENANT
#define CONFIG_CLOUDEVENTS_TENANT "default-tenant"
#endif

#ifndef CONFIG_CLOUDEVENTS_SITE
#define CONFIG_CLOUDEVENTS_SITE "default-site"
#endif

#endif // CONFIG_H
```

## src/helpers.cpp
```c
#include "helpers.h"

#include <Arduino.h>
#include <stdio.h>

// Clamp pos to buf_size-1 after snprintf (which returns would-be length)
static inline int clamp_pos(int pos, size_t buf_size) {
  return (pos >= (int)buf_size) ? (int)buf_size - 1 : pos;
}

int scan_i2c_bus(TwoWire &bus, char *buf, size_t buf_size) {
  int pos = 0;
  int found = 0;
  for (uint8_t addr = CONFIG_I2C_ADDR_MIN;
       addr < CONFIG_I2C_ADDR_MAX && pos < (int)buf_size - 16; addr++) {
    bus.beginTransmission(addr);
    if (bus.endTransmission() == 0) {
      pos += snprintf(buf + pos, buf_size - pos, "  0x%02X\r\n", addr);
      pos = clamp_pos(pos, buf_size);
      found++;
    }
  }
  if (found == 0)
    pos += snprintf(buf + pos, buf_size - pos, "  (no devices)\r\n");
  else
    pos += snprintf(buf + pos, buf_size - pos, "%d device(s)\r\n", found);
  pos = clamp_pos(pos, buf_size);
  return pos;
}

int format_uptime(char *buf, size_t buf_size) {
  unsigned long secs = millis() / 1000;
  return snprintf(buf, buf_size, "%luh %lum %lus\r\n",
                  secs / 3600, (secs / 60) % 60, secs % 60);
}

int format_heap(char *buf, size_t buf_size) {
  return snprintf(buf, buf_size,
                  "heap total: %u\r\nheap free:  %u\r\nheap used:  %u\r\n",
                  ESP.getHeapSize(), ESP.getFreeHeap(),
                  ESP.getHeapSize() - ESP.getFreeHeap());
}
```

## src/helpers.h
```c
#ifndef HELPERS_H
#define HELPERS_H

#include "config.h"
#include <stddef.h>
#include <Wire.h>

int scan_i2c_bus(TwoWire &bus, char *buf, size_t buf_size);
int format_uptime(char *buf, size_t buf_size);
int format_heap(char *buf, size_t buf_size);

#endif // HELPERS_H
```
